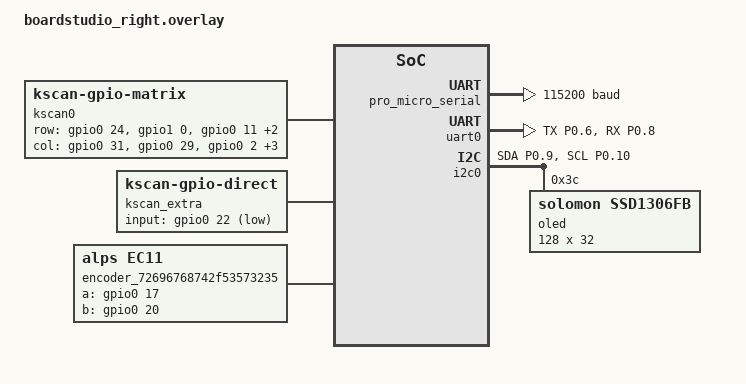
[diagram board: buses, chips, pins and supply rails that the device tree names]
#include <zephyr/dt-bindings/gpio/gpio.h>
#include <dt-bindings/zmk/matrix_transform.h>
#include <zephyr/dt-bindings/pinctrl/nrf-pinctrl.h>
/ { chosen { zmk,kscan = &kscan_combo; zmk,matrix-transform = &matrix_transform0; }; matrix_transform0: matrix_transform0 { compatible = "zmk,matrix-transform"; rows = <12>; columns = <6>; row-offset = <6>; map = <RC(0, 0) RC(0, 1) RC(0, 2) RC(0, 3) RC(0, 4) RC(0, 5) RC(1, 0) RC(1, 1) RC(1, 2) RC(1, 3) RC(1, 4) RC(1, 5) RC(2, 0) RC(2, 1) RC(2, 2) RC(2, 3) RC(2, 4) RC(2, 5) RC(3, 0) RC(3, 1) RC(3, 2) RC(3, 3) RC(3, 4) RC(3, 5) RC(4, 0) RC(4, 1) RC(4, 2) RC(4, 3) RC(4, 4) RC(5, 0) RC(6, 0) RC(6, 1) RC(6, 2) RC(6, 3) RC(6, 4) RC(6, 5) RC(7, 0) RC(7, 1) RC(7, 2) RC(7, 3) RC(7, 4) RC(7, 5) RC(8, 0) RC(8, 1) RC(8, 2) RC(8, 3) RC(8, 4) RC(8, 5) RC(9, 0) RC(9, 1) RC(9, 2) RC(9, 3) RC(9, 4) RC(9, 5) RC(10, 0) RC(10, 1) RC(10, 2) RC(10, 3) RC(10, 4) RC(11, 0)>; }; kscan0: kscan0 { compatible = "zmk,kscan-gpio-matrix"; wakeup-source; diode-direction = "col2row"; row-gpios = <&gpio0 24 (GPIO_ACTIVE_HIGH | GPIO_PULL_DOWN) &gpio1 0 (GPIO_ACTIVE_HIGH | GPIO_PULL_DOWN) &gpio0 11 (GPIO_ACTIVE_HIGH | GPIO_PULL_DOWN) &gpio1 4 (GPIO_ACTIVE_HIGH | GPIO_PULL_DOWN) &gpio1 6 (GPIO_ACTIVE_HIGH | GPIO_PULL_DOWN)>; col-gpios = <&gpio0 31 (GPIO_ACTIVE_HIGH | 0) &gpio0 29 (GPIO_ACTIVE_HIGH | 0) &gpio0 2 (GPIO_ACTIVE_HIGH | 0) &gpio1 15 (GPIO_ACTIVE_HIGH | 0) &gpio1 13 (GPIO_ACTIVE_HIGH | 0) &gpio1 11 (GPIO_ACTIVE_HIGH | 0)>; }; kscan_extra: kscan_extra { compatible = "zmk,kscan-gpio-direct"; input-gpios = <&gpio0 22 (GPIO_ACTIVE_LOW | GPIO_PULL_UP)>; }; kscan_combo: kscan_combo { compatible = "zmk,kscan-composite"; rows = <6>; columns = <6>; main { kscan = <&kscan0>; }; buttons { kscan = <&kscan_extra>; row-offset = <5>; }; }; };

&pro_micro_serial { status = "okay"; current-speed = <115200>; };
/ { wired_split { compatible = "zmk,wired-split"; device = <&pro_micro_serial>; }; };
&pinctrl { uart0_default: uart0_default { group1 { psels = <NRF_PSEL(UART_TX, 0, 6)>, <NRF_PSEL(UART_RX, 0, 8)>; }; }; };
&uart0 { pinctrl-0 = <&uart0_default>; pinctrl-names = "default"; status = "okay"; };

&i2c0 { status = "okay"; pinctrl-0 = <&boardstudio_i2c>; pinctrl-names = "default"; oled: ssd1306@3c { compatible = "solomon,ssd1306fb"; reg = <0x3c>; width = <128>; height = <32>; segment-offset = <0>; page-offset = <0>; display-offset = <0>; multiplex-ratio = <31>; segment-remap; com-invdir; com-sequential; inversion-on; prechargep = <0x22>; }; }; &pinctrl { boardstudio_i2c: boardstudio_i2c { group1 { psels = <NRF_PSEL(TWIM_SDA, 0, 9)>, <NRF_PSEL(TWIM_SCL, 0, 10)>; }; }; }; / { chosen { zephyr,display = &oled; }; };
/ { encoder_72696768742f53573235: encoder_72696768742f53573235 { compatible = "alps,ec11"; status = "okay"; a-gpios = <&gpio0 17 (GPIO_ACTIVE_HIGH | GPIO_ACTIVE_HIGH | GPIO_PULL_UP)>; b-gpios = <&gpio0 20 (GPIO_ACTIVE_HIGH | GPIO_ACTIVE_HIGH | GPIO_PULL_UP)>; steps = <80>; }; };
/ { encoder_6c6566742f53573235: encoder_6c6566742f53573235 { compatible = "alps,ec11"; status = "disabled"; }; };
/ { sensors: sensors { compatible = "zmk,keymap-sensors"; sensors = <&encoder_6c6566742f53573235 &encoder_72696768742f53573235>; sensor_0 { triggers-per-rotation = <20>; }; sensor_1 { triggers-per-rotation = <20>; }; }; };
